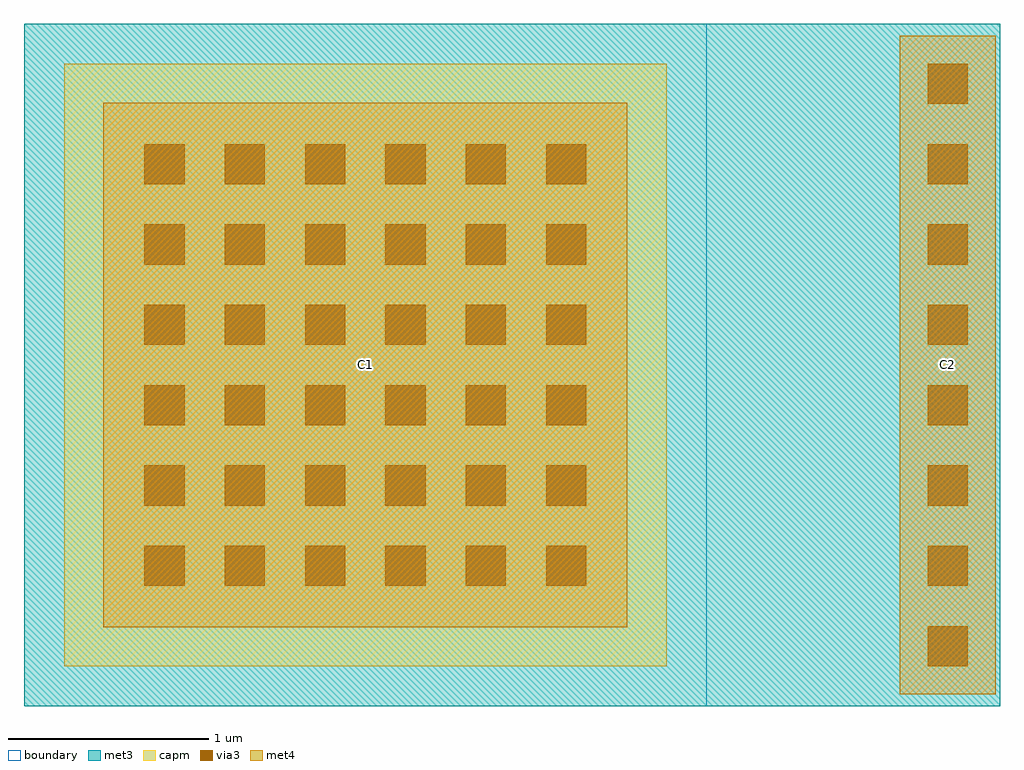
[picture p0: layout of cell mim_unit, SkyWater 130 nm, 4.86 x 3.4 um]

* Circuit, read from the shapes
.subckt mim_unit C1 C2
XC1 C1 C2 sky130_fd_pr__cap_mim_m3_1 w=3 l=3
.ends

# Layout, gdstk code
import gdstk
lib = gdstk.Library(unit=1e-6, precision=1e-09)
def R(c, l, rs):  # rectangles x0, y0, x1, y1
    for r in rs: c.add(gdstk.rectangle(r[:2], r[2:], *l))
def A(c, l, x, y, w, h, nx, ny, dx, dy):  # array of equal rectangles
    R(c, l, [(x+i*dx, y+j*dy, x+i*dx+w, y+j*dy+h) for i in range(nx) for j in range(ny)])
met3 = (70, 20)
via3 = (70, 44)
met4 = (71, 20)
capm = (89, 44)
boundary = (235, 4)

mim_unit = lib.new_cell('mim_unit')
R(mim_unit, met3, [(-2.43,-1.7,2.43,1.7)])
A(mim_unit, via3, 2.07, -1.5, 0.2, 0.2, 1, 8, 0, 0.4)
A(mim_unit, via3, -1.83, -1.1, 0.2, 0.2, 6, 6, 0.4, 0.4)
R(mim_unit, met4, [(1.93,-1.64,2.41,1.64), (-2.035,-1.305,0.575,1.305)])
R(mim_unit, capm, [(-2.23,-1.5,0.77,1.5)])
R(mim_unit, boundary, [(-2.43,-1.7,0.97,1.7)])
mim_unit.add(gdstk.Label('C2', (2.17,0), layer=71, texttype=5))
mim_unit.add(gdstk.Label('C1', (-0.73,0), layer=71, texttype=5))

lib.write_gds('mim_unit.gds')
